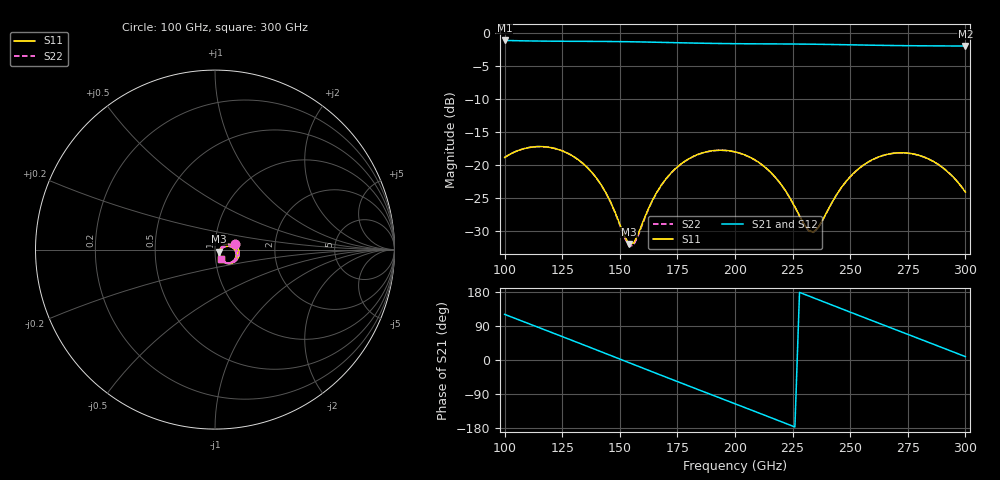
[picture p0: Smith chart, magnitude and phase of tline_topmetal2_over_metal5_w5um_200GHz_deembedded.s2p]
! Created with skrf 2.2.0 (http://scikit-rf.org).
# GHz S DB R 50.0
! Port[1] = P1
! Port[2] = P2
!freq dBS11 angS11 dBS21 angS21 dBS12 angS12 dBS22 angS22
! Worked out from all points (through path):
!   101 points, 100 GHz to 300 GHz, reference 50 ohm
!   highest |S21| = -1.13 dB at 100 GHz (marker M1); lowest = -2.0 dB at 300 GHz (marker M2)
!   group delay of S21, straight-line fit = 6.55 ps
!   lowest |S11| = -32.0 dB at 154 GHz (marker M3), VSWR 1.05, Z = 52.3 - j1.12 ohm
!   |S11| at or under -10 dB: start of sweep to end of sweep
!   |S22| runs from -32.3 to -17.2 dB; largest |S21 - S12| = 9.8e-14
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100  -18.89 15.1  -1.13 120.5  -1.13 120.5  -18.87 14.6
108  -17.59 -0.0  -1.19 101.7  -1.19 101.7  -17.57 -0.4
116  -17.23 -15.5  -1.23 83.0  -1.23 83.0  -17.23 -15.9
124  -17.75 -30.8  -1.25 64.2  -1.25 64.2  -17.74 -31.3
134  -19.79 -48.7  -1.27 40.6  -1.27 40.6  -19.79 -49.3
144  -24.26 -60.2  -1.29 16.8  -1.29 16.8  -24.30 -61.1
154  -32.02 -25.2  -1.33 -7.0  -1.33 -7.0  -32.34 -26.0
156  -31.86 -5.4  -1.34 -11.8  -1.34 -11.8  -32.19 -5.2
168  -23.08 24.1  -1.42 -40.3  -1.42 -40.3  -23.13 24.7
184  -18.41 0.3  -1.54 -78.0  -1.54 -78.0  -18.43 0.6
192  -17.80 -14.1  -1.59 -96.8  -1.59 -96.8  -17.82 -13.9
200  -18.03 -28.5  -1.62 -115.5  -1.62 -115.5  -18.05 -28.3
218  -22.08 -55.4  -1.66 -157.8  -1.66 -157.8  -22.10 -55.3
226  -26.38 -55.1  -1.68 -176.8  -1.68 -176.8  -26.41 -55.0
234  -30.20 -17.1  -1.71 164.2  -1.71 164.2  -30.25 -16.8
242  -25.77 14.8  -1.75 145.3  -1.75 145.3  -25.79 15.2
252  -21.10 10.6  -1.81 121.6  -1.81 121.6  -21.12 11.0
260  -19.16 -1.0  -1.86 102.8  -1.86 102.8  -19.17 -0.6
268  -18.27 -14.4  -1.90 84.1  -1.90 84.1  -18.29 -14.1
282  -18.81 -38.3  -1.95 51.3  -1.95 51.3  -18.82 -37.8
292  -20.95 -52.7  -1.97 27.8  -1.97 27.8  -20.94 -52.0
300  -24.13 -57.7  -1.98 8.9  -1.98 8.9  -24.09 -56.7
